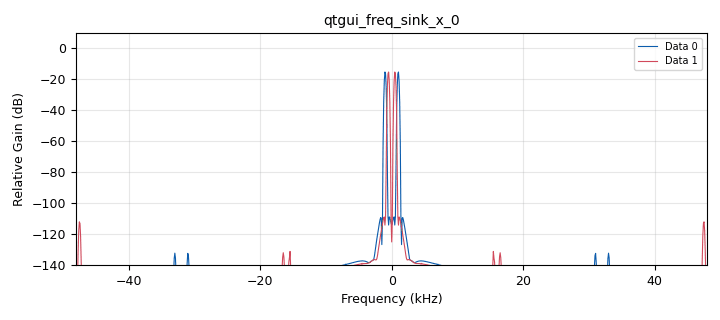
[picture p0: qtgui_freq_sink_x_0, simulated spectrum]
options:
  parameters:
    generate_options: qt_gui
    id: gkokol
    output_language: python
    title: Not titled yet
  states: {}

blocks:
- name: cos_freq_range
  id: variable_qtgui_range
  parameters:
    orient: Qt.Horizontal
    start: '0'
    step: '1'
    stop: 24e3
    value: 1e3
  states: {}
- name: input_samp_rate
  id: variable
  parameters:
    value: '48000'
  states: {}
- name: output_samp_rate
  id: variable
  parameters:
    value: '96000'
  states: {}
- name: analog_sig_source_x_0
  id: analog_sig_source_x
  parameters:
    amp: '1'
    freq: cos_freq_range
    offset: '0'
    phase: '0'
    samp_rate: input_samp_rate*2
    type: float
    waveform: analog.GR_COS_WAVE
  states: {}
- name: blocks_deinterleave_0
  id: blocks_deinterleave
  parameters:
    type: float
  states: {}
- name: blocks_null_sink_0
  id: blocks_null_sink
  parameters:
    type: float
  states: {}
- name: blocks_throttle_0
  id: blocks_throttle
  parameters:
    samples_per_second: output_samp_rate
    type: float
  states: {}
- name: qtgui_freq_sink_x_0
  id: qtgui_freq_sink_x
  parameters:
    average: '0.1'
    bw: output_samp_rate
    fc: '0'
    fftsize: '1024'
    nconnections: '2'
    type: float
    wintype: firdes.WIN_BLACKMAN_hARRIS
  states: {}
- name: rational_resampler_xxx_0
  id: rational_resampler_xxx
  parameters:
    decim: '1'
    interp: '2'
    taps: ''
    type: fff
  states: {}

connections:
- [analog_sig_source_x_0, '0', rational_resampler_xxx_0, '0']
- [blocks_deinterleave_0, '0', blocks_throttle_0, '0']
- [blocks_deinterleave_0, '1', blocks_null_sink_0, '0']
- [blocks_throttle_0, '0', qtgui_freq_sink_x_0, '0']
- [rational_resampler_xxx_0, '0', blocks_deinterleave_0, '0']
- [rational_resampler_xxx_0, '0', qtgui_freq_sink_x_0, '1']

metadata:
  file_format: 1
